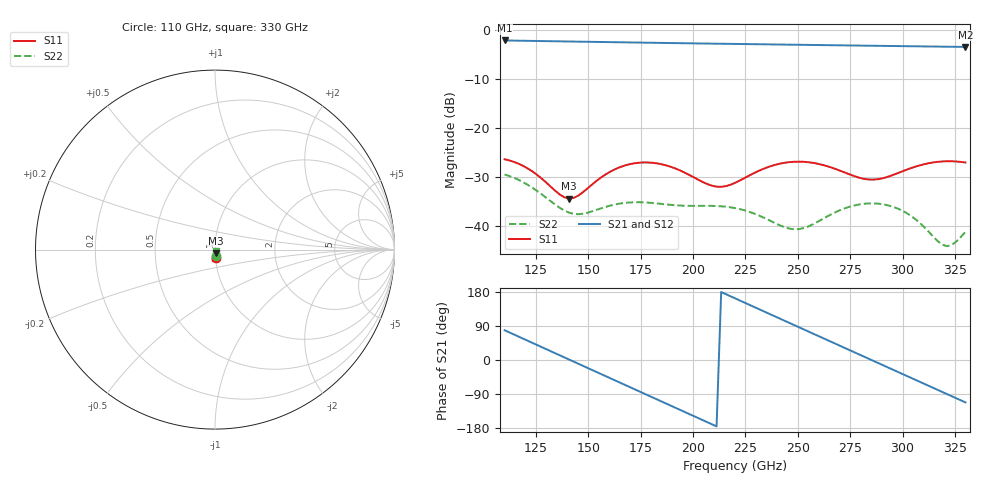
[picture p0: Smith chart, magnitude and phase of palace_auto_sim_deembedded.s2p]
! Created with skrf 1.11.0 (http://scikit-rf.org).
# GHz S DB R 50.0
!freq dBS11 angS11 dBS21 angS21 dBS12 angS12 dBS22 angS22
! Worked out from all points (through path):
!   101 points, 110 GHz to 330 GHz, reference 50 ohm
!   highest |S21| = -2.04 dB at 110 GHz (marker M1); lowest = -3.4 dB at 330 GHz (marker M2)
!   group delay of S21, straight-line fit = 6.95 ps
!   lowest |S11| = -34.3 dB at 140.8 GHz (marker M3), VSWR 1.04, Z = 50.3 - j1.91 ohm
!   |S11| at or under -10 dB: start of sweep to end of sweep
!   |S22| runs from -44.0 to -29.4 dB; largest |S21 - S12| = 8.7e-14
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110  -26.29 -82.7  -2.04 78.5  -2.04 78.5  -29.40 -77.0
127.6  -30.19 -103.2  -2.16 34.3  -2.16 34.3  -33.41 -94.8
140.8  -34.31 -80.8  -2.25 1.2  -2.25 1.2  -37.20 -82.9
147.4  -33.02 -62.0  -2.30 -15.4  -2.30 -15.4  -37.42 -70.4
156.2  -29.96 -57.1  -2.36 -37.5  -2.36 -37.5  -36.29 -62.3
167.2  -27.59 -67.4  -2.43 -65.0  -2.43 -65.0  -35.21 -64.4
176  -26.95 -79.2  -2.48 -87.1  -2.48 -87.1  -35.09 -68.8
184.8  -27.30 -90.5  -2.54 -109.1  -2.54 -109.1  -35.41 -71.9
202.4  -30.46 -99.2  -2.65 -153.2  -2.65 -153.2  -35.81 -73.9
211.2  -31.88 -88.0  -2.70 -175.2  -2.70 -175.2  -35.84 -77.2
220  -31.12 -73.7  -2.75 162.8  -2.75 162.8  -36.26 -82.4
228.8  -29.18 -69.7  -2.80 140.8  -2.80 140.8  -37.32 -86.9
239.8  -27.36 -76.2  -2.86 113.3  -2.86 113.3  -39.46 -85.1
248.6  -26.80 -84.9  -2.91 91.3  -2.91 91.3  -40.60 -72.3
257.4  -27.04 -93.6  -2.96 69.3  -2.96 69.3  -39.52 -58.6
277.2  -29.77 -98.0  -3.08 19.9  -3.08 19.9  -35.70 -66.2
286  -30.44 -88.1  -3.12 -2.1  -3.12 -2.1  -35.30 -78.1
294.8  -29.60 -78.7  -3.17 -24.1  -3.17 -24.1  -35.91 -90.9
308  -27.56 -78.4  -3.25 -57.0  -3.25 -57.0  -39.20 -104.6
319  -26.74 -85.5  -3.30 -84.4  -3.30 -84.4  -43.74 -88.0
323.4  -26.70 -88.7  -3.33 -95.4  -3.33 -95.4  -43.80 -69.4
330  -26.95 -93.0  -3.36 -111.8  -3.36 -111.8  -41.14 -53.1
